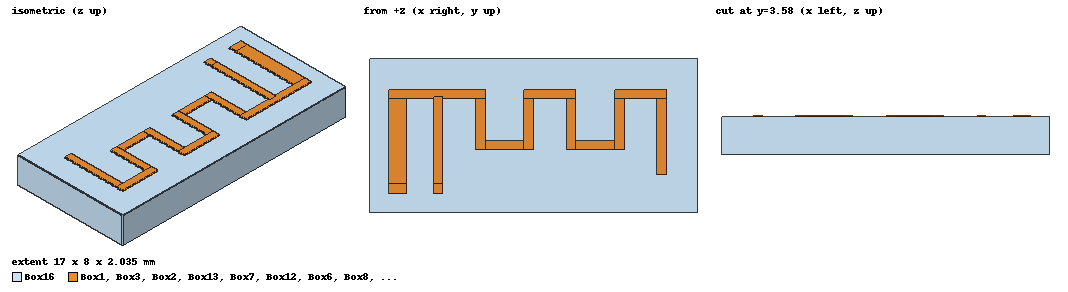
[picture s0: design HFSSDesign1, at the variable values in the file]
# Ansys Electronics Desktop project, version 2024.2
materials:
  vacuum: permittivity=1
  copper: permeability=0.999991 conductivity=58000000

design HFSSDesign1 (HFSS, HFSS Terminal Network, model units mm)
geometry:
  Box1 [copper] = box(corner=(0mm, 0.5mm, 0mm), size=(0.9mm, 4.4mm, 0.035mm))
  Box2 [copper] = box(corner=(2.3mm, 0.5mm, 0mm), size=(0.5mm, 4.5mm, 0.035mm))
  Box3 [copper] = box(corner=(0mm, 4.9mm, 0mm), size=(5mm, 0.5mm, 0.035mm))
  Box4 [copper] = box(corner=(5mm, 4.9mm, 0mm), size=(-0.5mm, -2.64mm, 0.035mm))
  Box5 [copper] = box(corner=(5mm, 2.26mm, 0mm), size=(2mm, 0.5mm, 0.035mm))
  Box6 [copper] = box(corner=(5mm, 4.9mm, 0mm), size=(-0.5mm, -2.64mm, 0.035mm))
  Box7 [copper] = box(corner=(5mm, 2.26mm, 0mm), size=(2.7mm, 0.5mm, 0.035mm))
  Box7.move(2mm, 2.64mm, 0mm)
  Box8 [copper] = box(corner=(5mm, 4.9mm, 0mm), size=(-0.5mm, -2.64mm, 0.035mm))
  Box8.move(2.5mm, 0mm, 0mm)
  Box9 [copper] = box(corner=(5mm, 4.9mm, 0mm), size=(-0.5mm, -2.64mm, 0.035mm))
  Box9.move(2.5mm, 0mm, 0mm)
  Box9.move(2.2mm, 0mm, 0mm)
  Box10 [copper] = box(corner=(5mm, 2.26mm, 0mm), size=(2mm, 0.5mm, 0.035mm))
  Box10.move(4.7mm, 0mm, 0mm)
  Box11 [copper] = box(corner=(5mm, 4.9mm, 0mm), size=(-0.5mm, -2.64mm, 0.035mm))
  Box11.move(2.5mm, 0mm, 0mm)
  Box11.move(4.7mm, 0mm, 0mm)
  Box12 [copper] = box(corner=(5mm, 2.26mm, 0mm), size=(2.7mm, 0.5mm, 0.035mm))
  Box12.move(2mm, 2.64mm, 0mm)
  Box12.move(4.7mm, 0mm, 0mm)
  Box13 [copper] = box(corner=(5mm, 4.9mm, 0mm), size=(-0.5mm, -3.94mm, 0.035mm))
  Box13.move(2.5mm, 0mm, 0mm)
  Box13.move(4.7mm, 0mm, 0mm)
  Box13.move(2.2mm, 0mm, 0mm)
  Box14 [copper] = box(corner=(0mm, 0mm, 0mm), size=(0.9mm, 0.5mm, 0.035mm))
  Box15 [copper] = box(corner=(0mm, 0mm, 0mm), size=(0.5mm, 0.5mm, 0.035mm))
  Box15.move(2.3mm, 1.110223e-16mm, 0mm)
  Box16 [vacuum] = box(corner=(-1mm, 7mm, 0mm), size=(17mm, -8mm, -2mm))
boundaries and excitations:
  1: Lumped Port Faces=Box15.face(-z) LumpedPortType=Modal Modes{Mode1{IntLine{(2.55, 0, 0) -> (2.55, 0.5, 0)} CharImp=Zpi}} Impedance=50ohm
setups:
  Setup1: HfssDrivenAuto AutoSolverSetting=Balanced SaveAnyFields=false Type=Interpolating
    sweep Sweep: 1GHz to 4GHz, 500 points;
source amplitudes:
  1:1: 1V 0deg
